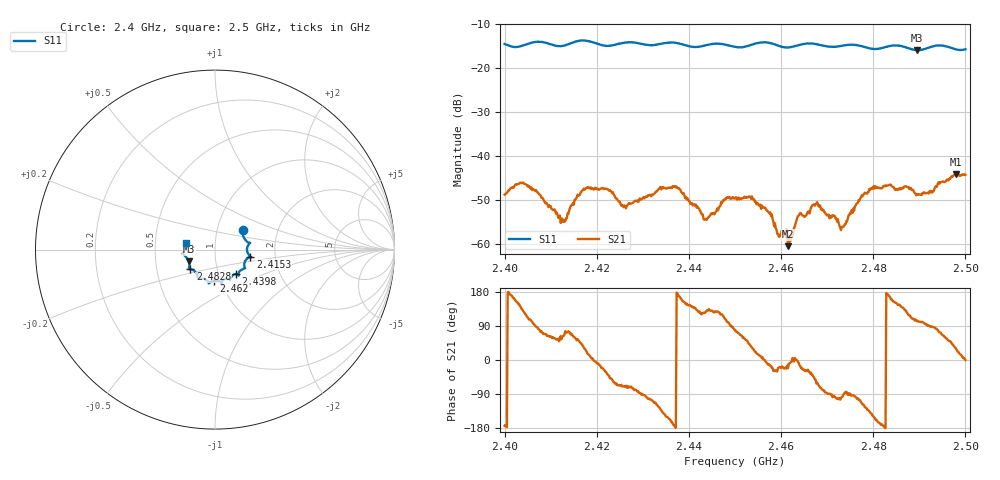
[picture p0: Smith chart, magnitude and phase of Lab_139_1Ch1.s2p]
# Hz S RI R 50
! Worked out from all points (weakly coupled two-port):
!   601 points, 2.4 GHz to 2.5 GHz, reference 50 ohm
!   highest |S21| = -44.13 dB at 2.498 GHz (marker M1); lowest = -60.6 dB at 2.4615 GHz (marker M2)
!   lowest |S11| = -15.9 dB at 2.4895 GHz (marker M3), VSWR 1.38, Z = 37 - j4.99 ohm
!   |S11| at or under -10 dB: start of sweep to end of sweep
!   S12 and S22 are empty: the file has one direction only
!   S11 on the Smith chart (normalised r, x): 2.4 GHz: 1.33, +0.29; 2.4153 GHz: 1.48, -0.12; 2.4398 GHz: 1.21, -0.34; 2.462 GHz: 0.93, -0.33; 2.4828 GHz: 0.74, -0.17; 2.5 GHz: 0.72, +0.06
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2.4e9  0.1554 0.1067  -0.00359 -0.000415  0 0  0 0
2.404333e9  0.1782 0.0444  -0.0027 0.00397  0 0  0 0
2.412667e9  0.1795 -0.00989  0.000808 0.00158  0 0  0 0
2.415333e9  0.1965 -0.0386  0.00167 0.00266  0 0  0 0
2.416667e9  0.2023 -0.0427  0.00287 0.00266  0 0  0 0
2.422333e9  0.166 -0.0682  0.00329 -0.00257  0 0  0 0
2.426167e9  0.1674 -0.1016  0.000857 -0.00254  0 0  0 0
2.433333e9  0.1308 -0.1336  -0.00221 -0.00348  0 0  0 0
2.439833e9  0.1156 -0.1361  -0.00262 0.0018  0 0  0 0
2.443667e9  0.0866 -0.1605  -0.00116 0.00153  0 0  0 0
2.45e9  0.0651 -0.1625  0.000704 0.00317  0 0  0 0
2.453667e9  0.0361 -0.182  0.00291 0.00186  0 0  0 0
2.4615e9  0.00175 -0.1722  0.000869 -0.000342  0 0  0 0
2.462e9  -0.00506 -0.1734  0.00105 -0.000136  0 0  0 0
2.466667e9  -0.0344 -0.188  0.00207 -0.00169  0 0  0 0
2.473333e9  -0.083 -0.1603  -0.000181 -0.00154  0 0  0 0
2.477833e9  -0.0982 -0.1462  -0.00166 -0.00323  0 0  0 0
2.482833e9  -0.1365 -0.1093  -0.0045 0.000247  0 0  0 0
2.483333e9  -0.1403 -0.1089  -0.00455 0.000767  0 0  0 0
2.4895e9  -0.1462 -0.0658  -0.000771 0.00358  0 0  0 0
2.498e9  -0.1636 0.00528  0.0054 0.00307  0 0  0 0
2.5e9  -0.1595 0.0389  0.0061 -2.31e-06  0 0  0 0
